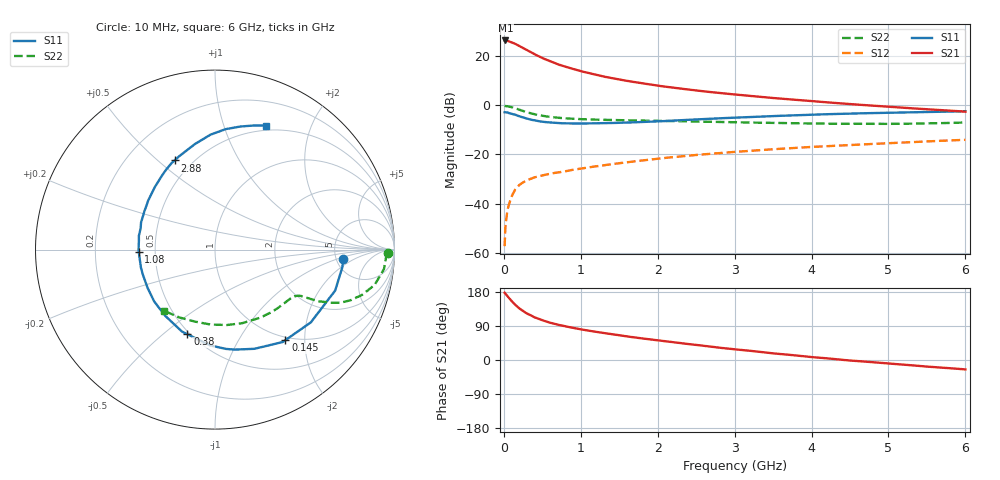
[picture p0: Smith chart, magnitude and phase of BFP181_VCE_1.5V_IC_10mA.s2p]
! Infineon Technologies  Discrete & RF Semiconductors
! BFP181
! VCE = 1.5 V,  IC =  10 mA
! Common Emitter S-Parameters:  Jan 2016
# GHz  S  MA  R  50
!  f  S11  S21  S12  S22
! GHz  MAG  ANG  MAG  ANG  MAG  ANG  MAG  ANG
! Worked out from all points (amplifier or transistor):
!   210 points, 10 MHz to 6 GHz, reference 50 ohm
!   highest |S21| = 26.1 dB at 20 MHz (marker M1)
!   |S21| within 3 dB of that: start of sweep to 244.8 MHz
!   unconditionally stable (mu >= 1): 774.4 MHz to end of sweep
!   at 185 MHz: K = 0.35, MSG = 28.5 dB, |S12| = -32.8 dB
!   at 1.52 GHz: K = 1.30, MAG = 13.6 dB, |S12| = -23.5 dB
!   at 6 GHz: K = 1.11, MAG = 3.7 dB, |S12| = -14.1 dB
!   S11 on the Smith chart (normalised r, x): 10 MHz: 5.77, -1.21; 145 MHz: 0.95, -1.62; 380 MHz: 0.49, -0.61; 1.08 GHz: 0.40, -0.01; 2.88 GHz: 0.40, +0.57; 6 GHz: 0.45, +1.40
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0.01  0.7156 -4.1  20.12 177.5  0.0014 87.2  0.9616 -1.1
0.02  0.7164 -7.8  20.23 175.3  0.0033 93.7  0.9539 -2.6
0.05  0.7074 -18.8  19.86 167.5  0.0078 83.9  0.9476 -6.6
0.1  0.6705 -37.2  18.6 155.8  0.0139 71.2  0.9113 -12.4
0.145  0.6389 -52.1  17.36 146.3  0.0192 65.9  0.8627 -16.6
0.2  0.5949 -68.3  15.74 136.3  0.0241 60.0  0.8062 -20.5
0.24  0.568 -78.8  14.46 130.4  0.0267 57.0  0.7669 -22.5
0.3  0.5344 -93.0  12.86 122.7  0.0301 53.3  0.7139 -24.5
0.38  0.496 -108.0  11.05 114.8  0.0336 50.2  0.6617 -26.0
0.4  0.4922 -112.0  10.64 112.4  0.0345 49.5  0.6487 -26.4
0.5  0.4618 -126.8  8.91 104.7  0.0378 46.7  0.6059 -27.2
0.6  0.4453 -139.5  7.701 98.4  0.0411 47.0  0.5754 -27.7
0.8  0.4264 -158.8  5.96 88.6  0.0457 46.5  0.5391 -28.5
1.02  0.423 -174.6  4.763 80.2  0.0522 47.4  0.5174 -30.1
1.08  0.425 -178.4  4.525 78.1  0.0542 47.5  0.5127 -30.5
1.5  0.4388 159.9  3.285 65.0  0.0665 48.2  0.4947 -35.1
2.02  0.4692 139.5  2.44 51.3  0.0828 47.2  0.4791 -42.4
2.88  0.5455 114.4  1.707 30.9  0.1091 42.8  0.4533 -57.3
3.1  0.5631 109.1  1.582 26.3  0.1157 41.4  0.4453 -61.5
4.1  0.6464 90.8  1.167 6.1  0.1448 34.3  0.4223 -83.5
5.1  0.7041 77.3  0.901 -10.8  0.1721 27.2  0.4169 -108.0
6  0.7475 67.6  0.736 -24.8  0.1981 19.7  0.4438 -129.9
